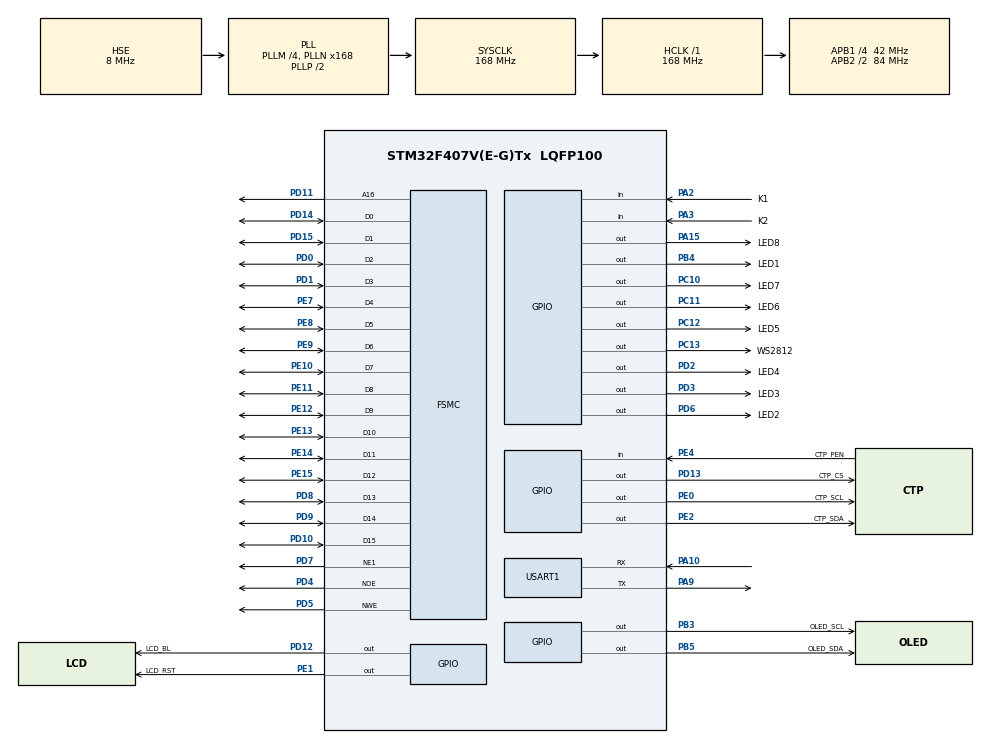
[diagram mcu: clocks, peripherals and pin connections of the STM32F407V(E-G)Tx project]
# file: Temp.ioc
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ADC1.Channel-0\#ChannelRegularConversion=ADC_CHANNEL_TEMPSENSOR
ADC1.NbrOfConversionFlag=1
ADC1.Rank-0\#ChannelRegularConversion=1
ADC1.SamplingTime-0\#ChannelRegularConversion=ADC_SAMPLETIME_3CYCLES
ADC1.master=1
Mcu.Family=STM32F4
Mcu.Name=STM32F407V(E-G)Tx
Mcu.Package=LQFP100
NVIC.PriorityGroup=NVIC_PRIORITYGROUP_4
NVIC.USART1_IRQn=true\:0\:0\:false\:false\:true\:false\:true\:true\:true
PA10.Mode=Asynchronous
PA10.Signal=USART1_RX
PA13.Mode=Serial_Wire
PA13.Signal=SYS_JTMS-SWDIO
PA14.Mode=Serial_Wire
PA14.Signal=SYS_JTCK-SWCLK
PA15.GPIO_Label=LED8
PA15.GPIO_PuPd=GPIO_PULLUP
PA15.GPIO_Speed=GPIO_SPEED_FREQ_HIGH
PA15.PinState=GPIO_PIN_SET
PA15.Signal=GPIO_Output
PA2.GPIO_Label=K1
PA2.GPIO_Mode=GPIO_MODE_INPUT
PA2.Signal=GPIO_Input
PA3.GPIO_Label=K2
PA3.Signal=GPIO_Input
PA9.Mode=Asynchronous
PA9.Signal=USART1_TX
PB3.GPIO_Label=OLED_SCL
PB3.GPIO_PuPd=GPIO_PULLUP
PB3.GPIO_Speed=GPIO_SPEED_FREQ_HIGH
PB3.PinState=GPIO_PIN_SET
PB3.Signal=GPIO_Output
PB4.GPIO_Label=LED1
PB4.GPIO_ModeDefaultOutputPP=GPIO_MODE_OUTPUT_PP
PB4.GPIO_PuPd=GPIO_PULLUP
PB4.GPIO_Speed=GPIO_SPEED_FREQ_HIGH
PB4.PinState=GPIO_PIN_SET
PB4.Signal=GPIO_Output
PB5.GPIO_Label=OLED_SDA
PB5.GPIO_PuPd=GPIO_PULLUP
PB5.GPIO_Speed=GPIO_SPEED_FREQ_HIGH
PB5.PinState=GPIO_PIN_SET
PB5.Signal=GPIO_Output
PC10.GPIO_Label=LED7
PC10.GPIO_ModeDefaultOutputPP=GPIO_MODE_OUTPUT_PP
PC10.GPIO_PuPd=GPIO_PULLUP
PC10.GPIO_Speed=GPIO_SPEED_FREQ_HIGH
PC10.PinState=GPIO_PIN_SET
PC10.Signal=GPIO_Output
PC11.GPIO_Label=LED6
PC11.GPIO_ModeDefaultOutputPP=GPIO_MODE_OUTPUT_PP
PC11.GPIO_PuPd=GPIO_PULLUP
PC11.GPIO_Speed=GPIO_SPEED_FREQ_HIGH
PC11.PinState=GPIO_PIN_SET
PC11.Signal=GPIO_Output
PC12.GPIO_Label=LED5
PC12.GPIO_ModeDefaultOutputPP=GPIO_MODE_OUTPUT_PP
PC12.GPIO_PuPd=GPIO_PULLUP
PC12.GPIO_Speed=GPIO_SPEED_FREQ_HIGH
PC12.PinState=GPIO_PIN_SET
PC12.Signal=GPIO_Output
PC13-ANTI_TAMP.GPIO_Label=WS2812
PC13-ANTI_TAMP.GPIO_ModeDefaultOutputPP=GPIO_MODE_OUTPUT_PP
PC13-ANTI_TAMP.GPIO_PuPd=GPIO_PULLUP
PC13-ANTI_TAMP.GPIO_Speed=GPIO_SPEED_FREQ_LOW
PC13-ANTI_TAMP.PinState=GPIO_PIN_SET
PC13-ANTI_TAMP.Signal=GPIO_Output
PC14-OSC32_IN.Mode=LSE-External-Oscillator
PC14-OSC32_IN.Signal=RCC_OSC32_IN
PC15-OSC32_OUT.Mode=LSE-External-Oscillator
PC15-OSC32_OUT.Signal=RCC_OSC32_OUT
PD0.Mode=16b-d1
PD0.Signal=FSMC_D2
PD1.Mode=16b-d1
PD1.Signal=FSMC_D3
PD10.Mode=16b-d1
PD10.Signal=FSMC_D15
PD11.Mode=A16_1
PD11.Signal=FSMC_A16
PD12.GPIO_Label=LCD_BL
PD12.GPIO_PuPd=GPIO_PULLUP
PD12.GPIO_Speed=GPIO_SPEED_FREQ_HIGH
PD12.Signal=GPIO_Output
PD13.GPIO_Label=CTP_CS
PD13.GPIO_PuPd=GPIO_PULLUP
PD13.GPIO_Speed=GPIO_SPEED_FREQ_HIGH
PD13.PinState=GPIO_PIN_SET
PD13.Signal=GPIO_Output
PD14.Mode=16b-d1
PD14.Signal=FSMC_D0
PD15.Mode=16b-d1
PD15.Signal=FSMC_D1
PD2.GPIO_Label=LED4
PD2.GPIO_ModeDefaultOutputPP=GPIO_MODE_OUTPUT_OD
PD2.GPIO_PuPd=GPIO_PULLUP
PD2.GPIO_Speed=GPIO_SPEED_FREQ_HIGH
PD2.PinState=GPIO_PIN_SET
PD2.Signal=GPIO_Output
PD3.GPIO_Label=LED3
PD3.GPIO_ModeDefaultOutputPP=GPIO_MODE_OUTPUT_PP
PD3.GPIO_PuPd=GPIO_PULLUP
PD3.GPIO_Speed=GPIO_SPEED_FREQ_HIGH
PD3.PinState=GPIO_PIN_SET
PD3.Signal=GPIO_Output
PD4.Mode=Lcd1
PD4.Signal=FSMC_NOE
PD5.Mode=Lcd1
PD5.Signal=FSMC_NWE
PD6.GPIO_Label=LED2
PD6.GPIO_ModeDefaultOutputPP=GPIO_MODE_OUTPUT_PP
PD6.GPIO_PuPd=GPIO_PULLUP
PD6.GPIO_Speed=GPIO_SPEED_FREQ_HIGH
PD6.PinState=GPIO_PIN_SET
PD6.Signal=GPIO_Output
PD7.Mode=NorPsramChipSelect1_1
PD7.Signal=FSMC_NE1
PD8.Mode=16b-d1
PD8.Signal=FSMC_D13
PD9.Mode=16b-d1
PD9.Signal=FSMC_D14
PE0.GPIO_Label=CTP_SCL
PE0.GPIO_ModeDefaultOutputPP=GPIO_MODE_OUTPUT_PP
PE0.GPIO_PuPd=GPIO_PULLUP
PE0.GPIO_Speed=GPIO_SPEED_FREQ_HIGH
PE0.PinState=GPIO_PIN_SET
PE0.Signal=GPIO_Output
PE1.GPIO_Label=LCD_RST
PE1.GPIO_PuPd=GPIO_PULLUP
PE1.GPIO_Speed=GPIO_SPEED_FREQ_HIGH
PE1.PinState=GPIO_PIN_SET
PE1.Signal=GPIO_Output
PE10.Mode=16b-d1
PE10.Signal=FSMC_D7
PE11.Mode=16b-d1
PE11.Signal=FSMC_D8
PE12.Mode=16b-d1
PE12.Signal=FSMC_D9
PE13.Mode=16b-d1
PE13.Signal=FSMC_D10
PE14.Mode=16b-d1
PE14.Signal=FSMC_D11
PE15.Mode=16b-d1
PE15.Signal=FSMC_D12
PE2.GPIO_Label=CTP_SDA
PE2.GPIO_ModeDefaultOutputPP=GPIO_MODE_OUTPUT_PP
PE2.GPIO_PuPd=GPIO_PULLUP
PE2.GPIO_Speed=GPIO_SPEED_FREQ_HIGH
PE2.PinState=GPIO_PIN_SET
PE2.Signal=GPIO_Output
PE4.GPIO_Label=CTP_PEN
PE4.Signal=GPIO_Input
PE7.Mode=16b-d1
PE7.Signal=FSMC_D4
PE8.Mode=16b-d1
PE8.Signal=FSMC_D5
PE9.Mode=16b-d1
PE9.Signal=FSMC_D6
PH0-OSC_IN.Mode=HSE-External-Oscillator
PH0-OSC_IN.Signal=RCC_OSC_IN
PH1-OSC_OUT.Mode=HSE-External-Oscillator
PH1-OSC_OUT.Signal=RCC_OSC_OUT
ProjectManager.HeapSize=0x1000
ProjectManager.StackSize=0x2000
ProjectManager.TargetToolchain=MDK-ARM V5.32
RCC.48MHZClocksFreq_Value=84000000
RCC.AHBFreq_Value=168000000
RCC.APB1CLKDivider=RCC_HCLK_DIV4
RCC.APB1Freq_Value=42000000
RCC.APB1TimFreq_Value=84000000
RCC.APB2CLKDivider=RCC_HCLK_DIV2
RCC.APB2Freq_Value=84000000
RCC.APB2TimFreq_Value=168000000
RCC.CortexFreq_Value=168000000
RCC.HCLKFreq_Value=168000000
RCC.HSE_VALUE=8000000
RCC.HSI_VALUE=16000000
RCC.PLLM=4
RCC.PLLN=168
RCC.PLLSourceVirtual=RCC_PLLSOURCE_HSE
RCC.RCC_MCO1Source=RCC_MCO1SOURCE_HSE
RCC.RCC_MCODiv2=RCC_MCODIV_5
RCC.SYSCLKFreq_VALUE=168000000
RCC.SYSCLKSource=RCC_SYSCLKSOURCE_PLLCLK
RCC.VCOOutputFreq_Value=336000000
RealThread.X-CUBE-RT-Thread_Nano.4.1.1.RTAaThreadCcRTOSJjkernel=true
RealThread.X-CUBE-RT-Thread_Nano.4.1.1.RTAaThreadCcRTOSJjlibcpu=true
RealThread.X-CUBE-RT-Thread_Nano.4.1.1.RT_USING_HEAP=1
RealThread.X-CUBE-RT-Thread_Nano.4.1.1.RT_USING_MEMPOOL=1
RealThread.X-CUBE-RT-Thread_Nano.4.1.1.RT_USING_MESSAGEQUEUE=1
RealThread.X-CUBE-RT-Thread_Nano.4.1.1.RT_USING_SMALL_MEM=1
RealThread.X-CUBE-RT-Thread_Nano.4.1.1.RT_USING_SMALL_MEM_AS_HEAP=1
USART1.VirtualMode=VM_ASYNC
VP_ADC1_TempSens_Input.Mode=IN-TempSens
VP_RealThread.X-CUBE-RT-Thread_Nano_VS_RTOSJjRTAaThread_4.1.1_4.1.1.Mode=RTOSJjRTAaThread
board=custom

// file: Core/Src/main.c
/* USER CODE BEGIN Header */
/**
  ******************************************************************************
  * @file           : main.c
  * @brief          : Main program body
  ******************************************************************************
  * @attention
  *
  * Copyright (c) 2025 STMicroelectronics.
  * All rights reserved.
  *
  * This software is licensed under terms that can be found in the LICENSE file
  * in the root directory of this software component.
  * If no LICENSE file comes with this software, it is provided AS-IS.
  *
  ******************************************************************************
  */
/* USER CODE END Header */
#include "main.h"
#include "adc.h"
#include "usart.h"
#include "gpio.h"
#include "fsmc.h"

/* USER CODE BEGIN Includes */
#include "stdio.h"
#include <string.h>
#include "bsp_lcd_driver.h"
#include "lv_port_disp.h"
#include "lv_port_indev.h"
#include "bsp_ft6336_lcd.h"
#include "bsp_oled.h"
#include "rtthread.h"
#include "lvgl.h"  // add after #include "rtthread.h"
#include "my_lvgl_app.h"
#include "bsp_rgb.h"
/* USER CODE END Includes */

/* USER CODE BEGIN PTD */
uint8_t rx_buff[100];  //接收缓存
uint8_t rx_done = 0; //接收完成标志
uint8_t rx_cnt = 0;//接收数据长度
/* USER CODE END PTD */

/* USER CODE BEGIN PD */
/******************************************* Important:Manually add****************************************************
cubemxʱRT-Thread board.c:
	RT_HEAP_SIZE (54*1024)
	SysTick_Handlerֶ()---->lv_tick_inc(1);
***********************************************************************************************************************/
/* USER CODE END PD */

/* USER CODE BEGIN PM */
void my_print(lv_log_level_t level, const char * buf);
void my_lvgl_app(void)
{
	//lv_ex_label_1();//lv_example_get_started_2();//lv_line_test_start();//my_lvgl_nebula();//my_lvgl_pages();//my_lvgl_rgb();//ry_test();//ry_test
	 lv_example_anim_1();
}
/* USER CODE END PM */

/* USER CODE BEGIN PV */
u8g2_t u8g2;
uint8_t i;
unsigned char str_temp[]="0";
unsigned char str_temp_b[]="0";
/* USER CODE END PV */

void SystemClock_Config(void);
/* USER CODE BEGIN PFP */
#define LVGL_THREAD_STACK_SIZE 3072
#define LVGL_THREAD_PRIORITY 20
// OLED 硬件参数（根据实际电路修改）
#define OLED_THREAD_STACK_SIZE  1024   // 线程栈
#define OLED_THREAD_PRIORITY    20      // 线程优先级
#define OLED_THREAD_TIMESLICE   5       // 时间片

// uart
#define UART_THREAD_STACK_SIZE  1024   // 线程栈
#define UART_THREAD_PRIORITY    20      // 线程优先级
#define UART_THREAD_TIMESLICE   5       // 时间片

static void lvgl_thread_entry(void *parameter) {
	lv_init();
	lv_port_disp_init();
	lv_port_indev_init();
	my_lvgl_app();//lv_example_anim_1();//lv_log_register_print_cb(my_print);

	rt_kprintf("lvgl_thread_entry!\n");
    while (1) {
        lv_task_handler();              // 处理 LVGL 任务
        rt_thread_delay(10);            // 延时 10ms
    }
}
static void oled_thread_entry(void *parameter) {
    // 初始? OLED
  OLED_Init();
	rt_kprintf("oled_thread_entry!\n");
   while (1)
		{
			i++;
			if(i>9)i=0;

			str_temp[0] = '0' + i;
			u8g2_SetFont(&u8g2, u8g2_font_inb24_mf);
			u8g2_SetDrawColor(&u8g2, 0); // 设置为背景色，用于擦除旧字符
			u8g2_DrawStr(&u8g2, 100,50,(const char*)str_temp_b);
			u8g2_SetDrawColor(&u8g2, 1);  // 设置为前景色，用于绘制新字符
			u8g2_DrawStr(&u8g2, 100,50,(const char*)str_temp);
			u8g2_SendBuffer(&u8g2);
			str_temp_b[0] = str_temp[0];
			HAL_GPIO_TogglePin(LED2_GPIO_Port,LED2_Pin);//rt_kprintf("rymcu oled test!\n");
			rt_thread_delay(1000);
		}
}
static void uart_thread_entry(void *parameter) {
	rt_kprintf("uart_thread_entry!\n");
   while (1)
		{
			if(1 == rx_done)
			{
				rx_done = 0;
				my_lvgl_set_receive_box();
				memset(rx_buff, 0, sizeof(rx_buff));
        rx_cnt =0;//清除接收长度
			}
			rt_thread_yield();//rt_thread_delay(1000);
		}
}
/* USER CODE END PFP */

int main(void)
{

  /* MCU Configuration--------------------------------------------------------*/

  /* Reset of all peripherals, Initializes the Flash interface and the Systick. */
  HAL_Init();

  /* Configure the system clock */
  SystemClock_Config();

  /* Initialize all configured peripherals */
  MX_GPIO_Init();
  MX_USART1_UART_Init();
  MX_FSMC_Init();
  MX_ADC1_Init();
  /* USER CODE BEGIN 2 */
	rt_thread_t oled_thread  = rt_thread_create("oled_thread",oled_thread_entry,RT_NULL, OLED_THREAD_STACK_SIZE,OLED_THREAD_PRIORITY,20);
  if (oled_thread != RT_NULL) {if(RT_EOK == rt_thread_startup(oled_thread)){rt_kprintf("oled_thread create ok!\n");}}

	rt_thread_t uart_thread  = rt_thread_create("uart_thread",uart_thread_entry,RT_NULL, UART_THREAD_STACK_SIZE,UART_THREAD_PRIORITY,20);
  if (uart_thread != RT_NULL) {if(RT_EOK == rt_thread_startup(uart_thread)){rt_kprintf("uart_thread create ok!\n");}}

	rt_thread_t lvgl_thread = rt_thread_create("lvgl",lvgl_thread_entry,RT_NULL, LVGL_THREAD_STACK_SIZE,LVGL_THREAD_PRIORITY,20);
  if (lvgl_thread != RT_NULL) {if(RT_EOK == rt_thread_startup(lvgl_thread)){rt_kprintf("lvgl_thread create ok!\n");}}else{rt_kprintf("Thread creation failed! Error code: %d\n", rt_get_errno());}

  /* USER CODE END 2 */

  /* Infinite loop */
  while (1)
  {

    /* USER CODE BEGIN 3 */
		rt_kprintf("end of main thread!\n");
		return 0;
	}
  /* USER CODE END 3 */
}

void SystemClock_Config(void)
{
  RCC_OscInitTypeDef RCC_OscInitStruct = {0};
  RCC_ClkInitTypeDef RCC_ClkInitStruct = {0};

  /** Configure the main internal regulator output voltage
  */
  __HAL_RCC_PWR_CLK_ENABLE();
  __HAL_PWR_VOLTAGESCALING_CONFIG(PWR_REGULATOR_VOLTAGE_SCALE1);

  /** Initializes the RCC Oscillators according to the specified parameters
  * in the RCC_OscInitTypeDef structure.
  */
  RCC_OscInitStruct.OscillatorType = RCC_OSCILLATORTYPE_HSE;
  RCC_OscInitStruct.HSEState = RCC_HSE_ON;
  RCC_OscInitStruct.PLL.PLLState = RCC_PLL_ON;
  RCC_OscInitStruct.PLL.PLLSource = RCC_PLLSOURCE_HSE;
  RCC_OscInitStruct.PLL.PLLM = 4;
  RCC_OscInitStruct.PLL.PLLN = 168;
  RCC_OscInitStruct.PLL.PLLP = RCC_PLLP_DIV2;
  RCC_OscInitStruct.PLL.PLLQ = 4;
  if (HAL_RCC_OscConfig(&RCC_OscInitStruct) != HAL_OK)
  {
    Error_Handler();
  }

  /** Initializes the CPU, AHB and APB buses clocks
  */
  RCC_ClkInitStruct.ClockType = RCC_CLOCKTYPE_HCLK|RCC_CLOCKTYPE_SYSCLK
                              |RCC_CLOCKTYPE_PCLK1|RCC_CLOCKTYPE_PCLK2;
  RCC_ClkInitStruct.SYSCLKSource = RCC_SYSCLKSOURCE_PLLCLK;
  RCC_ClkInitStruct.AHBCLKDivider = RCC_SYSCLK_DIV1;
  RCC_ClkInitStruct.APB1CLKDivider = RCC_HCLK_DIV4;
  RCC_ClkInitStruct.APB2CLKDivider = RCC_HCLK_DIV2;

  if (HAL_RCC_ClockConfig(&RCC_ClkInitStruct, FLASH_LATENCY_5) != HAL_OK)
  {
    Error_Handler();
  }
}

/* USER CODE BEGIN 4 */
#ifdef __GNUC__
#define PUTCHAR_PROTOTYPE int __io_putchar(int ch)
#else
#define PUTCHAR_PROTOTYPE int fputc(int ch,FILE *f)
#endif /* __GNUC__ */
//重定向printf函数
PUTCHAR_PROTOTYPE
{
    HAL_UART_Transmit(&huart1,(uint8_t *)&ch,1,HAL_MAX_DELAY);//输出指向串口USART1
    return ch;
}
void my_print(lv_log_level_t level, const char * buf)
{
	//printf("%s",buf);
	uint16_t length;
	length  = lv_strlen(buf);
	HAL_UART_Transmit(&huart1,(uint8_t *)buf,length,0xFFFF);//ָ򴮿USART1
}

/* USER CODE END 4 */

void Error_Handler(void)
{
  __disable_irq();
  while (1)
  {
  }
}
